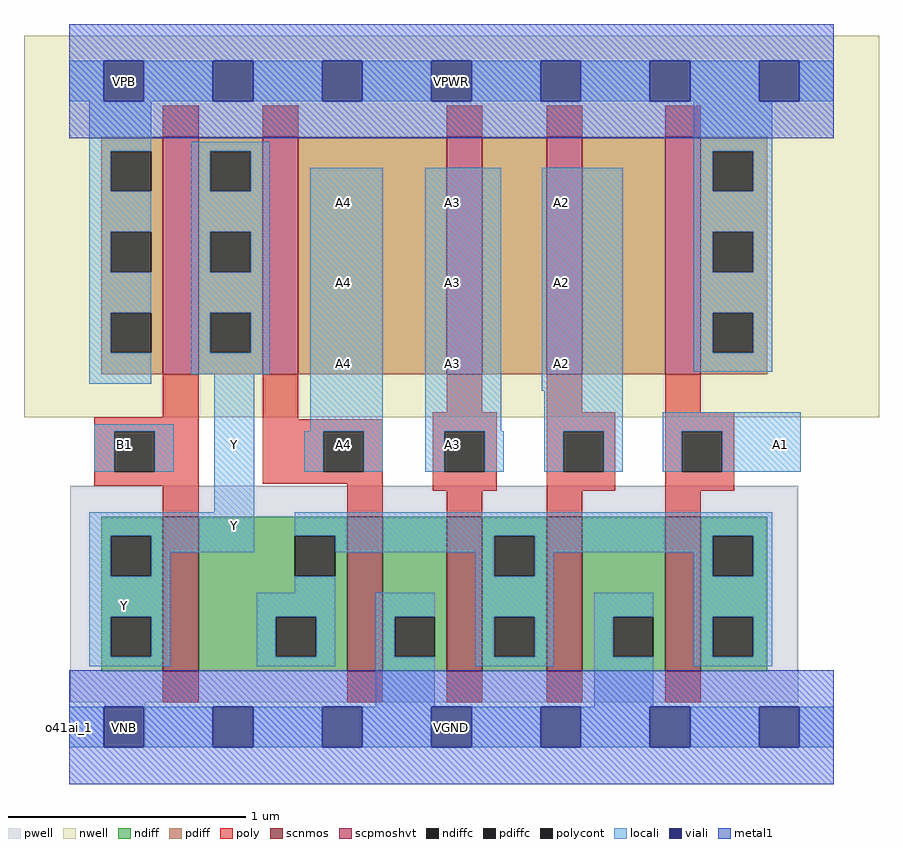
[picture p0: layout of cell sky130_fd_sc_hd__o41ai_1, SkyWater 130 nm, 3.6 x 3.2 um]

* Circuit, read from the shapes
.subckt sky130_fd_sc_hd__o41ai_1 A1 A2 A3 A4 B1 VGND VNB VPB VPWR Y
XM1 n1 B1 Y VNB sky130_fd_pr__nfet_01v8 w=0.65 l=0.15
XM2 VGND A4 n1 VNB sky130_fd_pr__nfet_01v8 w=0.65 l=0.15
XM3 n1 A3 VGND VNB sky130_fd_pr__nfet_01v8 w=0.65 l=0.15
XM4 VGND A2 n1 VNB sky130_fd_pr__nfet_01v8 w=0.65 l=0.15
XM5 n1 A1 VGND VNB sky130_fd_pr__nfet_01v8 w=0.65 l=0.15
XM6 Y B1 VPWR VPB sky130_fd_pr__pfet_01v8_hvt w=1 l=0.15
XM7 n2 A4 Y VPB sky130_fd_pr__pfet_01v8_hvt w=1 l=0.15
XM8 n3 A3 n2 VPB sky130_fd_pr__pfet_01v8_hvt w=1 l=0.15
XM9 n4 A2 n3 VPB sky130_fd_pr__pfet_01v8_hvt w=1 l=0.15
XM10 VPWR A1 n4 VPB sky130_fd_pr__pfet_01v8_hvt w=1 l=0.15
.ends

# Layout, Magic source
magic
tech sky130A
magscale 1 2
<< nwell >>
rect -38 261 682 582
<< pwell >>
rect 1 21 614 203
rect 30 -17 64 21
<< scnmos >>
rect 79 47 109 177
rect 234 47 264 177
rect 318 47 348 177
rect 402 47 432 177
rect 502 47 532 177
<< scpmoshvt >>
rect 79 297 109 497
rect 163 297 193 497
rect 318 297 348 497
rect 402 297 432 497
rect 502 297 532 497
<< ndiff >>
rect 27 161 79 177
rect 27 127 35 161
rect 69 127 79 161
rect 27 93 79 127
rect 27 59 35 93
rect 69 59 79 93
rect 27 47 79 59
rect 109 161 234 177
rect 109 127 190 161
rect 224 127 234 161
rect 109 93 234 127
rect 109 59 174 93
rect 208 59 234 93
rect 109 47 234 59
rect 264 93 318 177
rect 264 59 274 93
rect 308 59 318 93
rect 264 47 318 59
rect 348 161 402 177
rect 348 127 358 161
rect 392 127 402 161
rect 348 93 402 127
rect 348 59 358 93
rect 392 59 402 93
rect 348 47 402 59
rect 432 93 502 177
rect 432 59 458 93
rect 492 59 502 93
rect 432 47 502 59
rect 532 161 588 177
rect 532 127 542 161
rect 576 127 588 161
rect 532 93 588 127
rect 532 59 542 93
rect 576 59 588 93
rect 532 47 588 59
<< pdiff >>
rect 27 485 79 497
rect 27 451 35 485
rect 69 451 79 485
rect 27 417 79 451
rect 27 383 35 417
rect 69 383 79 417
rect 27 349 79 383
rect 27 315 35 349
rect 69 315 79 349
rect 27 297 79 315
rect 109 485 163 497
rect 109 451 119 485
rect 153 451 163 485
rect 109 417 163 451
rect 109 383 119 417
rect 153 383 163 417
rect 109 349 163 383
rect 109 315 119 349
rect 153 315 163 349
rect 109 297 163 315
rect 193 297 318 497
rect 348 297 402 497
rect 432 297 502 497
rect 532 485 588 497
rect 532 451 542 485
rect 576 451 588 485
rect 532 417 588 451
rect 532 383 542 417
rect 576 383 588 417
rect 532 349 588 383
rect 532 315 542 349
rect 576 315 588 349
rect 532 297 588 315
<< ndiffc >>
rect 35 127 69 161
rect 35 59 69 93
rect 190 127 224 161
rect 174 59 208 93
rect 274 59 308 93
rect 358 127 392 161
rect 358 59 392 93
rect 458 59 492 93
rect 542 127 576 161
rect 542 59 576 93
<< pdiffc >>
rect 35 451 69 485
rect 35 383 69 417
rect 35 315 69 349
rect 119 451 153 485
rect 119 383 153 417
rect 119 315 153 349
rect 542 451 576 485
rect 542 383 576 417
rect 542 315 576 349
<< poly >>
rect 79 497 109 523
rect 163 497 193 523
rect 318 497 348 523
rect 402 497 432 523
rect 502 497 532 523
rect 79 261 109 297
rect 21 249 109 261
rect 21 215 38 249
rect 72 215 109 249
rect 21 203 109 215
rect 163 259 193 297
rect 318 265 348 297
rect 402 265 432 297
rect 502 265 532 297
rect 163 249 264 259
rect 163 215 214 249
rect 248 215 264 249
rect 163 205 264 215
rect 79 177 109 203
rect 234 177 264 205
rect 306 249 360 265
rect 306 215 316 249
rect 350 215 360 249
rect 306 199 360 215
rect 402 249 460 265
rect 402 215 416 249
rect 450 215 460 249
rect 402 199 460 215
rect 502 249 560 265
rect 502 215 516 249
rect 550 215 560 249
rect 502 199 560 215
rect 318 177 348 199
rect 402 177 432 199
rect 502 177 532 199
rect 79 21 109 47
rect 234 21 264 47
rect 318 21 348 47
rect 402 21 432 47
rect 502 21 532 47
<< polycont >>
rect 38 215 72 249
rect 214 215 248 249
rect 316 215 350 249
rect 416 215 450 249
rect 516 215 550 249
<< locali >>
rect 0 527 29 561
rect 63 527 121 561
rect 155 527 213 561
rect 247 527 305 561
rect 339 527 397 561
rect 431 527 489 561
rect 523 527 581 561
rect 615 527 644 561
rect 17 485 69 527
rect 17 451 35 485
rect 17 417 69 451
rect 17 383 35 417
rect 17 349 69 383
rect 17 315 35 349
rect 17 289 69 315
rect 103 485 169 493
rect 103 451 119 485
rect 153 451 169 485
rect 526 485 592 527
rect 103 417 169 451
rect 103 383 119 417
rect 153 383 169 417
rect 103 349 169 383
rect 103 315 119 349
rect 153 315 169 349
rect 103 297 169 315
rect 21 249 88 255
rect 21 215 38 249
rect 72 215 88 249
rect 122 181 156 297
rect 203 249 264 471
rect 198 215 214 249
rect 248 215 264 249
rect 300 249 364 471
rect 398 283 466 471
rect 526 451 542 485
rect 576 451 592 485
rect 526 417 592 451
rect 526 383 542 417
rect 576 383 592 417
rect 526 349 592 383
rect 526 315 542 349
rect 576 315 592 349
rect 526 299 592 315
rect 400 249 466 283
rect 300 215 316 249
rect 350 215 366 249
rect 400 215 416 249
rect 450 215 466 249
rect 500 249 616 265
rect 500 215 516 249
rect 550 215 616 249
rect 17 161 156 181
rect 17 127 35 161
rect 69 147 156 161
rect 190 161 592 181
rect 69 127 85 147
rect 17 93 85 127
rect 224 147 358 161
rect 190 113 224 127
rect 342 127 358 147
rect 392 147 542 161
rect 392 127 408 147
rect 17 59 35 93
rect 69 59 85 93
rect 17 51 85 59
rect 158 93 224 113
rect 158 59 174 93
rect 208 59 224 93
rect 158 51 224 59
rect 258 93 308 113
rect 258 59 274 93
rect 258 17 308 59
rect 342 93 408 127
rect 526 127 542 147
rect 576 127 592 161
rect 342 59 358 93
rect 392 59 408 93
rect 342 51 408 59
rect 442 93 492 113
rect 442 59 458 93
rect 442 17 492 59
rect 526 93 592 127
rect 526 59 542 93
rect 576 59 592 93
rect 526 51 592 59
rect 0 -17 29 17
rect 63 -17 121 17
rect 155 -17 213 17
rect 247 -17 305 17
rect 339 -17 397 17
rect 431 -17 489 17
rect 523 -17 581 17
rect 615 -17 644 17
<< viali >>
rect 29 527 63 561
rect 121 527 155 561
rect 213 527 247 561
rect 305 527 339 561
rect 397 527 431 561
rect 489 527 523 561
rect 581 527 615 561
rect 29 -17 63 17
rect 121 -17 155 17
rect 213 -17 247 17
rect 305 -17 339 17
rect 397 -17 431 17
rect 489 -17 523 17
rect 581 -17 615 17
<< metal1 >>
rect 0 561 644 592
rect 0 527 29 561
rect 63 527 121 561
rect 155 527 213 561
rect 247 527 305 561
rect 339 527 397 561
rect 431 527 489 561
rect 523 527 581 561
rect 615 527 644 561
rect 0 496 644 527
rect 0 17 644 48
rect 0 -17 29 17
rect 63 -17 121 17
rect 155 -17 213 17
rect 247 -17 305 17
rect 339 -17 397 17
rect 431 -17 489 17
rect 523 -17 581 17
rect 615 -17 644 17
rect 0 -48 644 -17
<< labels >>
flabel locali s 582 221 616 255 0 FreeSans 250 0 0 0 A1
port 1 nsew signal input
flabel locali s 398 425 432 459 0 FreeSans 250 0 0 0 A2
port 2 nsew signal input
flabel locali s 398 357 432 391 0 FreeSans 250 0 0 0 A2
port 2 nsew signal input
flabel locali s 398 289 432 323 0 FreeSans 250 0 0 0 A2
port 2 nsew signal input
flabel locali s 306 425 340 459 0 FreeSans 250 0 0 0 A3
port 3 nsew signal input
flabel locali s 306 357 340 391 0 FreeSans 250 0 0 0 A3
port 3 nsew signal input
flabel locali s 306 289 340 323 0 FreeSans 250 0 0 0 A3
port 3 nsew signal input
flabel locali s 306 221 340 255 0 FreeSans 250 0 0 0 A3
port 3 nsew signal input
flabel locali s 214 425 248 459 0 FreeSans 250 0 0 0 A4
port 4 nsew signal input
flabel locali s 214 357 248 391 0 FreeSans 250 0 0 0 A4
port 4 nsew signal input
flabel locali s 214 289 248 323 0 FreeSans 250 0 0 0 A4
port 4 nsew signal input
flabel locali s 214 221 248 255 0 FreeSans 250 0 0 0 A4
port 4 nsew signal input
flabel locali s 122 221 156 255 0 FreeSans 250 0 0 0 Y
port 10 nsew signal output
flabel locali s 122 153 156 187 0 FreeSans 250 0 0 0 Y
port 10 nsew signal output
flabel locali s 30 85 64 119 0 FreeSans 250 0 0 0 Y
port 10 nsew signal output
flabel locali s 30 221 64 255 0 FreeSans 250 0 0 0 B1
port 5 nsew signal input
flabel pwell s 30 -17 64 17 0 FreeSans 200 0 0 0 VNB
port 7 nsew ground bidirectional
flabel nwell s 30 527 64 561 0 FreeSans 200 0 0 0 VPB
port 8 nsew power bidirectional
flabel metal1 s 30 -17 64 17 0 FreeSans 200 0 0 0 VGND
port 6 nsew ground bidirectional abutment
flabel metal1 s 30 527 64 561 0 FreeSans 200 0 0 0 VPWR
port 9 nsew power bidirectional abutment
rlabel comment s 0 0 0 0 4 o41ai_1
rlabel metal1 s 0 -48 644 48 1 VGND
port 6 nsew ground bidirectional abutment
rlabel metal1 s 0 496 644 592 1 VPWR
port 9 nsew power bidirectional abutment
<< properties >>
string FIXED_BBOX 0 0 644 544
string GDS_END 719410
string GDS_FILE $PDKPATH/libs.ref/sky130_fd_sc_hd/gds/sky130_fd_sc_hd.gds
string GDS_START 712164
string LEFclass CORE
string LEFsite unithd
string LEFsymmetry X Y R90
string path 0.000 0.000 3.220 0.000 
<< end >>
